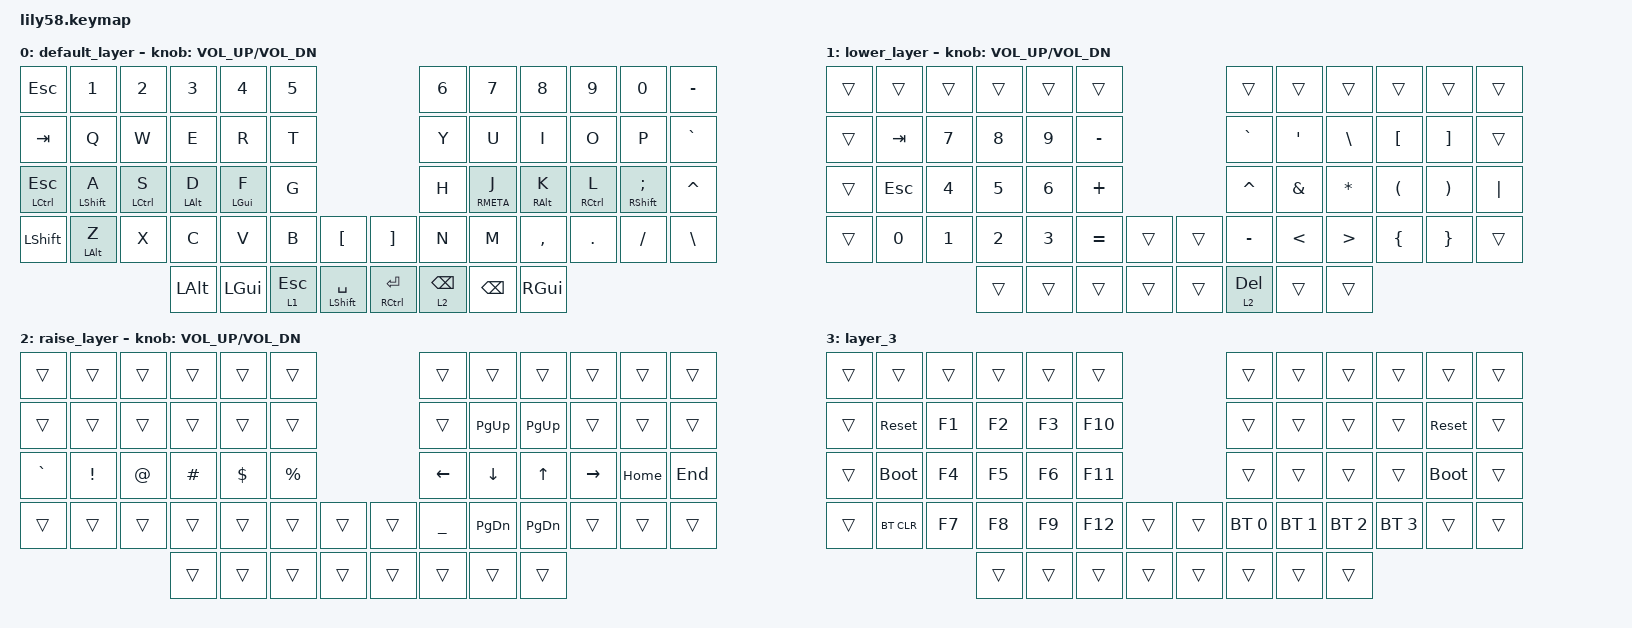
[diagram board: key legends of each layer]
/*
 * Copyright (c) 2020 The ZMK Contributors
 *
 * SPDX-License-Identifier: MIT
 */

#include <behaviors.dtsi>
#include <dt-bindings/zmk/bt.h>
#include <dt-bindings/zmk/keys.h>

/ {
    behaviors {
        hml: hml {
            compatible = "zmk,behavior-hold-tap";
            label = "Home-modifier-left";
            bindings = <&kp>, <&kp>;

            #binding-cells = <2>;
            tapping-term-ms = <300>;
            quick-tap-ms = <200>;
            require-prior-idle-ms = <125>;
            flavor = "balanced";
            hold-trigger-key-positions = <6 18 30 43 54 55 34 35 44 45 46 47 48 49 55 56 57 7 8 9 10 11 19 20 21 22 23 31 32 33 34 35 45 46 47 48 49>;
            hold-trigger-on-release;
        };

        hmr: hmr {
            compatible = "zmk,behavior-hold-tap";
            label = "home-modifier-right";
            bindings = <&kp>, <&kp>;

            #binding-cells = <2>;
            tapping-term-ms = <300>;
            quick-tap-ms = <200>;
            require-prior-idle-ms = <125>;
            flavor = "balanced";
            hold-trigger-key-positions = <0 1 2 3 4 5 12 13 14 15 16 17 24 25 26 27 28 29 36 37 38 39 40 41 50 51 52 3 4 5 15 16 17 27 28 29 39 40 41 42 50 51 52 53>;
            hold-trigger-on-release;
        };

        mylt: mylt {
            compatible = "zmk,behavior-hold-tap";
            label = "MYLT";
            bindings = <&mo>, <&kp>;

            #binding-cells = <2>;
            tapping-term-ms = <300>;
            quick-tap-ms = <200>;
        };
    };

    keymap {
        compatible = "zmk,keymap";

        default_layer {
            // ------------------------------------------------------------------------------------------------------------
            // |  ESC  |  1  |  2  |  3   |  4   |  5   |                   |  6   |  7    |  8    |  9   |   0   |   `   |
            // |  TAB  |  Q  |  W  |  E   |  R   |  T   |                   |  Y   |  U    |  I    |  O   |   P   |   -   |
            // |  CTRL |  A  |  S  |  D   |  F   |  G   |                   |  H   |  J    |  K    |  L   |   ;   |   '   |
            // | SHIFT |  Z  |  X  |  C   |  V   |  B   |   "["  |  |  "]"  |  N   |  M    |  ,    |  .   |   /   | SHIFT |
            //                     | ALT  | GUI  | LOWER|  SPACE |  | ENTER | RAISE| BSPC  | GUI   |

            bindings = <
&kp ESC        &kp N1             &kp N2        &kp N3           &kp N4           &kp N5                                              &kp N6             &kp N7        &kp N8            &kp N9                &kp N0                 &kp MINUS
&kp TAB        &kp Q              &kp W         &kp E            &kp R            &kp T                                               &kp Y              &kp U         &kp I             &kp O                 &kp P                  &kp GRAVE
&mt LCTRL ESC  &hml LEFT_SHIFT A  &hml LCTRL S  &hml LEFT_ALT D  &hml LEFT_GUI F  &kp G                                               &kp H              &hmr RMETA J  &hmr RIGHT_ALT K  &hmr RIGHT_CONTROL L  &hmr RIGHT_SHIFT SEMI  &kp CARET
&kp LSHFT      &mt LEFT_ALT Z     &kp X         &kp C            &kp V            &kp B        &kp LBKT                &kp RBKT       &kp N              &kp M         &kp COMMA         &kp DOT               &kp SLASH              &kp BSLH
                                                &kp LALT         &kp LGUI         &mylt 1 ESC  &mt LEFT_SHIFT SPACE    &mt RCTRL RET  &mylt 2 BACKSPACE  &kp BSPC      &kp RGUI
            >;

            sensor-bindings = <&inc_dec_kp C_VOL_UP C_VOL_DN>;
        };

        lower_layer {
            // ------------------------------------------------------------------------------------------------------------
            // | BTCLR | BT1 | BT2 |  BT3 |  BT4 |  BT5 |                   |      |       |       |      |       |       |
            // |  F1   |  F2 |  F3 |  F4  |  F5  |  F6  |                   |  F7  |  F8   |  F9   |  F10 |  F11  |  F12  |
            // |   `   |  !  |  @  |  #   |  $   |  %   |                   |  ^   |  &    |  *    |  (   |   )   |   ~   |
            // |       |     |     |      |      |      |        |  |       |      |  _    |  +    |  {   |   }   |  "|"  |
            //                     |      |      |      |        |  |       |      |       |       |

            bindings = <
&trans  &trans      &trans  &trans  &trans  &trans                       &trans       &trans         &trans            &trans            &trans             &trans
&trans  &kp TAB     &kp N7  &kp N8  &kp N9  &kp MINUS                    &kp GRAVE    &kp SQT        &kp BSLH          &kp LEFT_BRACKET  &kp RIGHT_BRACKET  &trans
&trans  &kp ESCAPE  &kp N4  &kp N5  &kp N6  &kp PLUS                     &kp CARET    &kp AMPS       &kp ASTRK         &kp LPAR          &kp RPAR           &kp PIPE
&trans  &kp N0      &kp N1  &kp N2  &kp N3  &kp EQUAL  &trans    &trans  &kp MINUS    &kp LESS_THAN  &kp GREATER_THAN  &kp LBRC          &kp RBRC           &trans
                            &trans  &trans  &trans     &trans    &trans  &mylt 2 DEL  &trans         &trans
            >;

            sensor-bindings = <&inc_dec_kp C_VOL_UP C_VOL_DN>;
        };

        raise_layer {
            // ------------------------------------------------------------------------------------------------------------
            // |       |     |     |      |      |      |                   |      |       |       |      |       |       |
            // |   `   |  1  |  2  |  3   |  4   |  5   |                   |  6   |   7   |   8   |  9   |   0   |       |
            // |   F1  |  F2 |  F3 |  F4  |  F5  |  F6  |                   |      |   <-  |   v   |  ^   |  ->   |       |
            // |   F7  |  F8 |  F9 |  F10 |  F11 |  F12 |        |  |       |  +   |   -   |   =   |  [   |   ]   |   \   |
            //                     |      |      |      |        |  |       |      |       |       |

            bindings = <
&trans     &trans    &trans  &trans    &trans      &trans                       &trans     &trans         &trans     &trans     &trans    &trans
&trans     &trans    &trans  &trans    &trans      &trans                       &trans     &kp PG_UP      &kp PG_UP  &trans     &trans    &trans
&kp GRAVE  &kp EXCL  &kp AT  &kp HASH  &kp DOLLAR  &kp PRCNT                    &kp LEFT   &kp DOWN       &kp UP     &kp RIGHT  &kp HOME  &kp END
&trans     &trans    &trans  &trans    &trans      &trans     &trans    &trans  &kp UNDER  &kp PAGE_DOWN  &kp PG_DN  &trans     &trans    &trans
                             &trans    &trans      &trans     &trans    &trans  &trans     &trans         &trans
            >;

            sensor-bindings = <&inc_dec_kp C_VOL_UP C_VOL_DN>;
        };

        layer_3 {
            bindings = <
&trans  &trans       &trans  &trans  &trans  &trans                     &trans        &trans        &trans        &trans        &trans       &trans
&trans  &sys_reset   &kp F1  &kp F2  &kp F3  &kp F10                    &trans        &trans        &trans        &trans        &sys_reset   &trans
&trans  &bootloader  &kp F4  &kp F5  &kp F6  &kp F11                    &trans        &trans        &trans        &trans        &bootloader  &trans
&trans  &bt BT_CLR   &kp F7  &kp F8  &kp F9  &kp F12  &trans    &trans  &bt BT_SEL 0  &bt BT_SEL 1  &bt BT_SEL 2  &bt BT_SEL 3  &trans       &trans
                             &trans  &trans  &trans   &trans    &trans  &trans        &trans        &trans
            >;
        };
    };

    conditional_layers {
        compatible = "zmk,conditional-layers";

        tri_layer {
            if-layers = <1 2>;
            then-layer = <3>;
        };
    };
};
